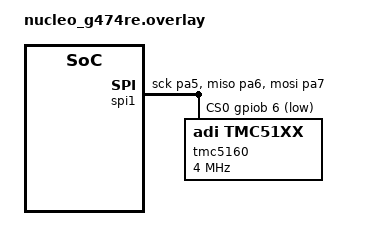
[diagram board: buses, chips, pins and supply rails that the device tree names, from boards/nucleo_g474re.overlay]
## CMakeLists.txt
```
cmake_minimum_required(VERSION 3.28.0)

# Tell CMake to find Zephyr
find_package(Zephyr REQUIRED HINTS $ENV{ZEPHYR_BASE})
project(nucleo_g474re_stepper_motion)

# Add application source files
target_sources(app PRIVATE
    src/main.c
)
```

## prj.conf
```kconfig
# Enable GPIO driver
CONFIG_GPIO=y

# Enable Console & UART Output
CONFIG_SERIAL=y
CONFIG_CONSOLE=y
CONFIG_UART_CONSOLE=y
CONFIG_PRINTK=y
CONFIG_STDOUT_CONSOLE=y

# Enable Logging
CONFIG_LOG=y
CONFIG_STEPPER_LOG_LEVEL_INF=y

# Enable SPI & Stepper Drivers
CONFIG_SPI=y
CONFIG_STEPPER=y
CONFIG_STEPPER_ADI_TMC51XX=y
CONFIG_STEPPER_ADI_TMC51XX_STEPPER_CTRL=y
CONFIG_STEPPER_ADI_TMC51XX_STEPPER_DRIVER=y
CONFIG_STEPPER_ADI_TMC51XX_RAMP_GEN=y
CONFIG_STEPPER_ADI_TMC51XX_RAMPSTAT_POLL_INTERVAL_IN_MSEC=50
```

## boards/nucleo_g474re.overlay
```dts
/*
 * Devicetree overlay for Nucleo-G474RE with ADI/Trinamic TMC5160-EVAL
 * Tuned Smooth Profile for FUYU FSK30 Linear Actuator
 */

/ {
	aliases {
		stepper-driver = &tmc5160_driver;
		stepper-ctrl = &tmc5160_ctrl;
	};
};

&spi1 {
	pinctrl-0 = <&spi1_sck_pa5 &spi1_miso_pa6 &spi1_mosi_pa7>;
	pinctrl-names = "default";
	cs-gpios = <&gpiob 6 (GPIO_ACTIVE_LOW | GPIO_PULL_UP)>;
	status = "okay";

	tmc5160: tmc5160@0 {
		compatible = "adi,tmc51xx";
		reg = <0>;
		spi-max-frequency = <DT_FREQ_M(4)>;
		clock-frequency = <DT_FREQ_M(12)>;

		tmc5160_driver: stepper-driver {
			compatible = "adi,tmc51xx-stepper-driver";
			micro-step-res = <256>;
			stallguard2-threshold = <12>;
		};

		tmc5160_ctrl: motion-controller {
			compatible = "adi,tmc51xx-stepper-ctrl";
			activate-stallguard2;
			stallguard-threshold-velocity = <5000>;
			stallguard-velocity-check-interval-ms = <50>;
			/* Smooth Ramping Profile */
			vstart = <10>;
			vstop = <10>;
			a1 = <2000>;
			v1 = <30000>;
			amax = <4000>;
			vmax = <140000>;     /* ~33 mm/s cruising speed */
			dmax = <4000>;
			d1 = <2000>;
			tzerowait = <200>;
			thigh = <0>;
			tcoolthrs = <1048575>;   /* 0xFFFFF: Enable StallGuard2 across entire speed range */
			tpwmthrs = <0>;
			tpowerdown = <10>;
			/* Driving Torque */
			ihold = <3>;
			irun = <12>;
			iholddelay = <6>;
		};
	};
};
```

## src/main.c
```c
/*
 * STM32G474RE Nucleo + ADI/Trinamic TMC5160 Motion Controller
 * FUYU FSK30 Auto-Reversing Stall-Sensing Sweep Controller (StallGuard2)
 */

#include <stdlib.h>
#include <zephyr/kernel.h>
#include <zephyr/device.h>
#include <zephyr/drivers/stepper/stepper.h>
#include <zephyr/drivers/stepper/stepper_ctrl.h>
#include <zephyr/drivers/spi.h>
#include <zephyr/logging/log.h>
#include "../drivers/stepper/adi_tmc/tmc51xx/tmc51xx.h"

LOG_MODULE_REGISTER(stepper_motion, LOG_LEVEL_INF);

/* 
 * FUYU FSK30 (T12 Lead Screw - 12mm lead per revolution):
 * 200 full steps/rev * 256 usteps = 51,200 usteps/rev
 * Resolution: 51,200 / 12 mm = 4,267 usteps/mm
 */
#define USTEPS_PER_MM        4267

/* Target large stroke so motor sweeps until it hits the end stop */
#define MAX_FORWARD_TRAVEL   (350 * USTEPS_PER_MM)   /* 350 mm forward search */
#define MAX_REVERSE_TRAVEL   (-350 * USTEPS_PER_MM)  /* 350 mm reverse search */

#define TURNAROUND_DWELL_MS  300       /* Settling pause at turnaround */
#define POLL_INTERVAL_MS     50

static const struct device *stepper_driver = DEVICE_DT_GET(DT_ALIAS(stepper_driver));
static const struct device *stepper_ctrl   = DEVICE_DT_GET(DT_ALIAS(stepper_ctrl));
static const struct device *tmc_dev        = DEVICE_DT_GET(DT_NODELABEL(tmc5160));

static void dump_tmc5160_status(void)
{
	uint32_t gconf = 0, gstat = 0, rampstat = 0, drv_status = 0;
	uint32_t vactual = 0, vmax = 0, xactual = 0, xtarget = 0, rampmode = 0;

	tmc51xx_read(tmc_dev, 0x00, &gconf);
	tmc51xx_read(tmc_dev, 0x01, &gstat);
	tmc51xx_read(tmc_dev, 0x20, &rampmode);
	tmc51xx_read(tmc_dev, 0x21, &xactual);
	tmc51xx_read(tmc_dev, 0x22, &vactual);
	tmc51xx_read(tmc_dev, 0x27, &vmax);
	tmc51xx_read(tmc_dev, 0x2D, &xtarget);
	tmc51xx_read(tmc_dev, 0x35, &rampstat);
	tmc51xx_read(tmc_dev, 0x6F, &drv_status);

	LOG_INF("--- TMC5160 Diagnostics ---");
	LOG_INF("  GCONF=0x%08X  GSTAT=0x%08X  RAMPMODE=%u", gconf, gstat, rampmode);
	LOG_INF("  VMAX=%u  VACTUAL=%d  XACTUAL=%d  XTARGET=%d", vmax, (int32_t)vactual, (int32_t)xactual, (int32_t)xtarget);
	LOG_INF("  RAMPSTAT=0x%08X  DRV_STATUS=0x%08X", rampstat, drv_status);
}

static void sweep_with_stallguard(int32_t target_usteps, const char *dir_name)
{
	int32_t current_pos = 0;
	uint32_t rampstat = 0, drv_status = 0;
	bool moving = true;
	int ret;

	LOG_INF(">> Sweeping %s (moving towards endstop)...", dir_name);

	ret = stepper_enable(stepper_driver);
	if (ret != 0) {
		LOG_ERR("Failed to enable stepper driver (%d)", ret);
		return;
	}

	/* Clear previous stall event in RAMPSTAT */
	tmc51xx_read(tmc_dev, 0x35, &rampstat);

	/* Command move towards boundary */
	ret = stepper_ctrl_move_to(stepper_ctrl, target_usteps);
	if (ret != 0) {
		LOG_ERR("Failed to command move_to (ret=%d)", ret);
		return;
	}

	/* Wait 500ms to allow motor to ramp up to cruising speed */
	k_msleep(500);

	for (int i = 0; i < 400; i++) {
		k_msleep(POLL_INTERVAL_MS);
		stepper_ctrl_get_actual_position(stepper_ctrl, &current_pos);
		stepper_ctrl_is_moving(stepper_ctrl, &moving);

		/* Read real-time StallGuard load & flags */
		tmc51xx_read(tmc_dev, 0x35, &rampstat);
		tmc51xx_read(tmc_dev, 0x6F, &drv_status);

		uint16_t sg_load = drv_status & 0x3FF;
		bool sg_event = (rampstat & BIT(6)) || (drv_status & BIT(24));

		if (i % 10 == 0) {
			LOG_INF("  Pos: %d mm (usteps: %d) | Load(SG): %u | Moving: %d",
			        current_pos / USTEPS_PER_MM, current_pos, sg_load, moving);
		}

		/* Hardware stall event or stopped moving while in flight */
		if (sg_event || (!moving && i > 5)) {
			LOG_INF(">>> [ENDSTOP DETECTED] Hit physical stop at %d mm (usteps: %d, SG: %u)! Reversing...",
			        current_pos / USTEPS_PER_MM, current_pos, sg_load);
			break;
		}
	}

	/* Stop motion and zero reference at this end */
	stepper_ctrl_stop(stepper_ctrl);
	k_msleep(100);
	stepper_ctrl_set_reference_position(stepper_ctrl, 0);

	if (TURNAROUND_DWELL_MS > 0) {
		k_msleep(TURNAROUND_DWELL_MS);
	}
}

int main(void)
{
	int ret;
	uint32_t cycle = 0;

	/* Power-on stabilization delay */
	k_msleep(1000);

	LOG_INF("=========================================================");
	LOG_INF(" FUYU FSK30 Auto-Reversing Stall-Sensing Sweep Controller");
	LOG_INF("=========================================================");

	if (!device_is_ready(stepper_driver) || !device_is_ready(stepper_ctrl)) {
		LOG_ERR("Stepper devices not ready!");
		return -ENODEV;
	}

	/* Enable motor driver stage */
	ret = stepper_enable(stepper_driver);
	if (ret != 0) {
		LOG_ERR("Failed to enable stepper driver (%d)", ret);
		return ret;
	}
	LOG_INF("Stepper driver stage enabled.");

	/* Configure TCOOLTHRS (0x14) = 0xFFFFF so StallGuard is active at all speeds */
	tmc51xx_write(tmc_dev, 0x14, 0x000FFFFF);

	/* Set StallGuard2 threshold SGT = 12 (high sensitivity for lightweight FSK30 stage) */
	int8_t sgt = 12;
	uint32_t coolconf = ((sgt & 0x7F) << 16) | BIT(24);
	tmc51xx_write(tmc_dev, 0x6D, coolconf);

	/* Configure Hardware StallGuard Stop-on-Stall (SWMODE bit 10) */
	uint32_t swmode = 0;
	tmc51xx_read(tmc_dev, 0x34, &swmode);
	swmode |= BIT(10);  /* sg_stop = 1: hardware auto-stop on stall */
	tmc51xx_write(tmc_dev, 0x34, swmode);

	/* Zero coordinate reference at startup position */
	stepper_ctrl_set_reference_position(stepper_ctrl, 0);

	dump_tmc5160_status();

	k_msleep(500);

	/* Continuous sweep: back and forth between physical rail ends */
	while (1) {
		cycle++;
		LOG_INF("--- Continuous Stall-Sensing Sweep Cycle #%u ---", cycle);

		/* 1. Sweep forward until hitting the far endstop */
		sweep_with_stallguard(MAX_FORWARD_TRAVEL, "FORWARD >>");

		/* 2. Sweep backward until hitting the near endstop */
		sweep_with_stallguard(MAX_REVERSE_TRAVEL, "<< REVERSE");
	}

	return 0;
}
```
